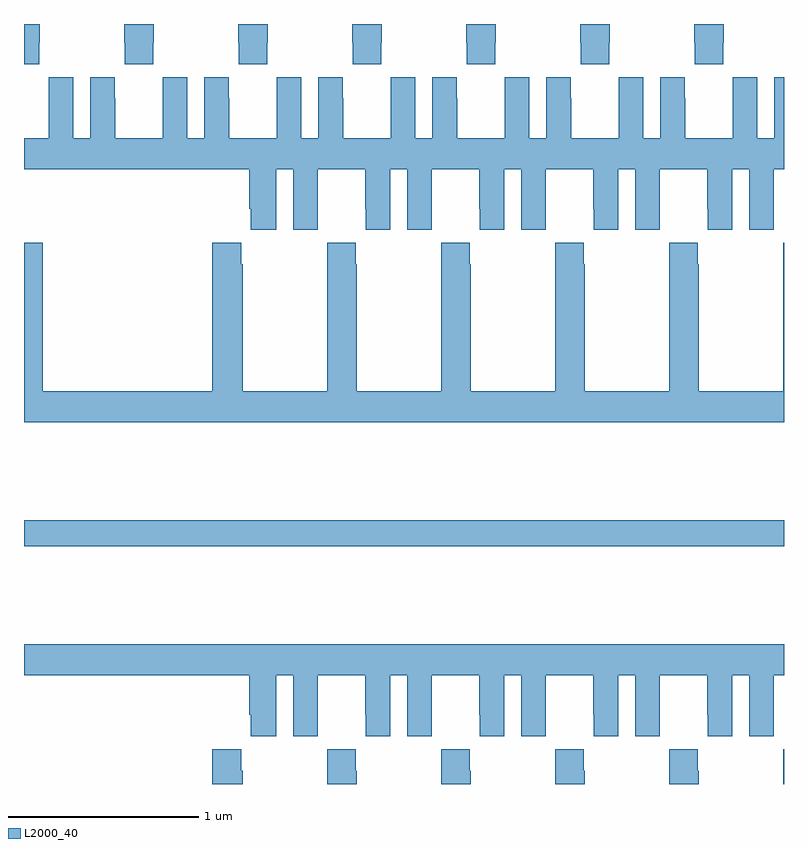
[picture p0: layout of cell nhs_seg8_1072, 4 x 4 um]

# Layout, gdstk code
import gdstk
lib = gdstk.Library(unit=1e-6, precision=1e-09)
def R(c, l, rs):  # rectangles x0, y0, x1, y1
    for r in rs: c.add(gdstk.rectangle(r[:2], r[2:], *l))
def P(c, l, *ps):  # polygons
    for p in ps: c.add(gdstk.Polygon(p, *l))
L2000_40 = (2000, 40)

nhs_seg8_1072 = lib.new_cell('nhs_seg8_1072')
R(nhs_seg8_1072, L2000_40, [(179,1145.152,183,1145.288)])
P(nhs_seg8_1072, L2000_40, [(180.879,1147.801),(180.882,1147.801),(180.882,1147.9),(180.727,1147.9),(180.727,1147.801),(180.729,1147.801),(180.729,1147.689),(180.879,1147.689)],
  [(180.279,1147.801),(180.282,1147.801),(180.282,1147.9),(180.127,1147.9),(180.127,1147.801),(180.129,1147.801),(180.129,1147.689),(180.279,1147.689)],
  [(179.679,1147.801),(179.682,1147.801),(179.682,1147.9),(179.527,1147.9),(179.527,1147.801),(179.529,1147.801),(179.529,1147.689),(179.679,1147.689)],
  [(179.079,1147.801),(179.082,1147.801),(179.082,1147.9),(179,1147.9),(179,1147.689),(179.079,1147.689)],
  [(181.479,1147.801),(181.482,1147.801),(181.482,1147.9),(181.327,1147.9),(181.327,1147.801),(181.329,1147.801),(181.329,1147.689),(181.479,1147.689)],
  [(182.079,1147.801),(182.082,1147.801),(182.082,1147.9),(181.927,1147.9),(181.927,1147.801),(181.929,1147.801),(181.929,1147.689),(182.079,1147.689)],
  [(182.679,1147.801),(182.682,1147.801),(182.682,1147.9),(182.527,1147.9),(182.527,1147.801),(182.529,1147.801),(182.529,1147.689),(182.679,1147.689)],
  [(180.328,1147.136),(180.416,1147.136),(180.416,1146.816),(180.546,1146.816),(180.546,1146.928),(180.547,1146.928),(180.547,1147.136),(180.797,1147.136),(180.797,1146.928),(180.798,1146.928),(180.798,1146.816),(180.928,1146.816),(180.928,1147.136),(181.016,1147.136),(181.016,1146.816),(181.146,1146.816),(181.146,1146.928),(181.147,1146.928),(181.147,1147.136),(181.397,1147.136),(181.397,1146.928),(181.398,1146.928),(181.398,1146.816),(181.528,1146.816),(181.528,1147.136),(181.616,1147.136),(181.616,1146.816),(181.746,1146.816),(181.746,1146.928),(181.747,1146.928),(181.747,1147.136),(181.997,1147.136),(181.997,1146.928),(181.998,1146.928),(181.998,1146.816),(182.128,1146.816),(182.128,1147.136),(182.216,1147.136),(182.216,1146.816),(182.346,1146.816),(182.346,1146.928),(182.347,1146.928),(182.347,1147.136),(182.597,1147.136),(182.597,1146.928),(182.598,1146.928),(182.598,1146.816),(182.728,1146.816),(182.728,1147.136),(182.816,1147.136),(182.816,1146.816),(182.946,1146.816),(182.946,1146.928),(182.947,1146.928),(182.947,1147.136),(183,1147.136),(183,1147.621),(182.948,1147.621),(182.948,1147.3),(182.86,1147.3),(182.86,1147.621),(182.73,1147.621),(182.73,1147.508),(182.729,1147.508),(182.729,1147.3),(182.479,1147.3),(182.479,1147.508),(182.478,1147.508),(182.478,1147.621),(182.348,1147.621),(182.348,1147.3),(182.26,1147.3),(182.26,1147.621),(182.13,1147.621),(182.13,1147.508),(182.129,1147.508),(182.129,1147.3),(181.879,1147.3),(181.879,1147.508),(181.878,1147.508),(181.878,1147.621),(181.748,1147.621),(181.748,1147.3),(181.66,1147.3),(181.66,1147.621),(181.53,1147.621),(181.53,1147.508),(181.529,1147.508),(181.529,1147.3),(181.279,1147.3),(181.279,1147.508),(181.278,1147.508),(181.278,1147.621),(181.148,1147.621),(181.148,1147.3),(181.06,1147.3),(181.06,1147.621),(180.93,1147.621),(180.93,1147.508),(180.929,1147.508),(180.929,1147.3),(180.679,1147.3),(180.679,1147.508),(180.678,1147.508),(180.678,1147.621),(180.548,1147.621),(180.548,1147.3),(180.46,1147.3),(180.46,1147.621),(180.33,1147.621),(180.33,1147.508),(180.329,1147.508),(180.329,1147.3),(180.079,1147.3),(180.079,1147.508),(180.078,1147.508),(180.078,1147.621),(179.948,1147.621),(179.948,1147.3),(179.86,1147.3),(179.86,1147.621),(179.73,1147.621),(179.73,1147.508),(179.729,1147.508),(179.729,1147.3),(179.479,1147.3),(179.479,1147.508),(179.478,1147.508),(179.478,1147.621),(179.348,1147.621),(179.348,1147.3),(179.26,1147.3),(179.26,1147.621),(179.13,1147.621),(179.13,1147.508),(179.129,1147.508),(179.129,1147.3),(179,1147.3),(179,1147.136),(180.185,1147.136),(180.185,1146.928),(180.194,1146.928),(180.194,1146.816),(180.328,1146.816)],
  [(183,1146.748),(182.997,1146.748),(182.997,1146.635),(182.995,1146.635),(182.995,1145.968),(182.55,1145.968),(182.55,1146.635),(182.547,1146.635),(182.547,1146.748),(182.397,1146.748),(182.397,1146.635),(182.395,1146.635),(182.395,1145.968),(181.95,1145.968),(181.95,1146.635),(181.947,1146.635),(181.947,1146.748),(181.797,1146.748),(181.797,1146.635),(181.795,1146.635),(181.795,1145.968),(181.35,1145.968),(181.35,1146.635),(181.347,1146.635),(181.347,1146.748),(181.197,1146.748),(181.197,1146.635),(181.195,1146.635),(181.195,1145.968),(180.75,1145.968),(180.75,1146.635),(180.747,1146.635),(180.747,1146.748),(180.597,1146.748),(180.597,1146.635),(180.595,1146.635),(180.595,1145.968),(180.15,1145.968),(180.15,1146.635),(180.143,1146.635),(180.143,1146.748),(179.99,1146.748),(179.99,1145.968),(179.099,1145.968),(179.099,1146.748),(179,1146.748),(179,1145.804),(183,1145.804)],
  [(180.328,1144.472),(180.416,1144.472),(180.416,1144.152),(180.546,1144.152),(180.546,1144.264),(180.547,1144.264),(180.547,1144.472),(180.797,1144.472),(180.797,1144.264),(180.798,1144.264),(180.798,1144.152),(180.928,1144.152),(180.928,1144.472),(181.016,1144.472),(181.016,1144.152),(181.146,1144.152),(181.146,1144.264),(181.147,1144.264),(181.147,1144.472),(181.397,1144.472),(181.397,1144.264),(181.398,1144.264),(181.398,1144.152),(181.528,1144.152),(181.528,1144.472),(181.616,1144.472),(181.616,1144.152),(181.746,1144.152),(181.746,1144.264),(181.747,1144.264),(181.747,1144.472),(181.997,1144.472),(181.997,1144.264),(181.998,1144.264),(181.998,1144.152),(182.128,1144.152),(182.128,1144.472),(182.216,1144.472),(182.216,1144.152),(182.346,1144.152),(182.346,1144.264),(182.347,1144.264),(182.347,1144.472),(182.597,1144.472),(182.597,1144.264),(182.598,1144.264),(182.598,1144.152),(182.728,1144.152),(182.728,1144.472),(182.816,1144.472),(182.816,1144.152),(182.946,1144.152),(182.946,1144.264),(182.947,1144.264),(182.947,1144.472),(183,1144.472),(183,1144.636),(179,1144.636),(179,1144.472),(180.185,1144.472),(180.185,1144.264),(180.194,1144.264),(180.194,1144.152),(180.328,1144.152)],
  [(183,1144.084),(182.997,1144.084),(182.997,1143.971),(182.995,1143.971),(182.995,1143.9),(183,1143.9)],
  [(182.55,1143.971),(182.547,1143.971),(182.547,1144.084),(182.397,1144.084),(182.397,1143.971),(182.395,1143.971),(182.395,1143.9),(182.55,1143.9)],
  [(181.95,1143.971),(181.947,1143.971),(181.947,1144.084),(181.797,1144.084),(181.797,1143.971),(181.795,1143.971),(181.795,1143.9),(181.95,1143.9)],
  [(181.35,1143.971),(181.347,1143.971),(181.347,1144.084),(181.197,1144.084),(181.197,1143.971),(181.195,1143.971),(181.195,1143.9),(181.35,1143.9)],
  [(180.75,1143.971),(180.747,1143.971),(180.747,1144.084),(180.597,1144.084),(180.597,1143.971),(180.595,1143.971),(180.595,1143.9),(180.75,1143.9)],
  [(179.99,1144.084),(179.99,1143.9),(180.15,1143.9),(180.15,1143.971),(180.143,1143.971),(180.143,1144.084)])

lib.write_gds('nhs_seg8_1072.gds')
